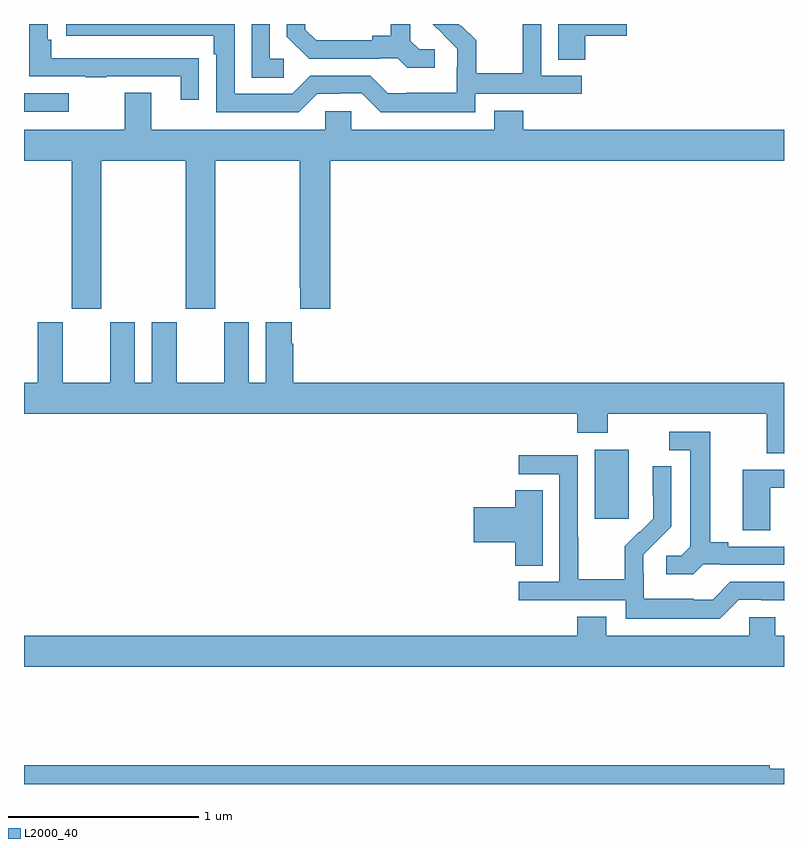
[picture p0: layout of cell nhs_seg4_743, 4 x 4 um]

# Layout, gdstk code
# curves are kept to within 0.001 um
import gdstk
lib = gdstk.Library(unit=1e-6, precision=1e-09)
def R(c, l, rs):  # rectangles x0, y0, x1, y1
    for r in rs: c.add(gdstk.rectangle(r[:2], r[2:], *l))
def P(c, l, *ps):  # polygons
    for p in ps: c.add(gdstk.Polygon(p, *l))
L2000_40 = (2000, 40)

nhs_seg4_743 = lib.new_cell('nhs_seg4_743')
R(nhs_seg4_743, L2000_40, [(152.003,768.297,152.182,768.658), (149,770.439,149.236,770.535), (150.612,770.899,150.757,770.9)])
P(nhs_seg4_743, L2000_40, [(150.367,770.718),(150.294,770.718),(150.294,770.9),(150.198,770.9),(150.198,770.617),(150.367,770.617)],
  [(151.162,770.766),(151.08,770.766),(151.033,770.813),(151.033,770.9),(150.929,770.9),(150.929,770.837),(150.833,770.837),(150.833,770.814),(150.538,770.814),(150.481,770.871),(150.481,770.9),(150.384,770.9),(150.384,770.834),(150.5,770.718),(150.872,770.718),(150.872,770.721),(150.966,770.721),(151.018,770.669),(151.162,770.669)],
  [(149.921,770.72),(149.819,770.72),(149.819,770.721),(149.144,770.721),(149.144,770.818),(149.124,770.818),(149.124,770.9),(149.028,770.9),(149.028,770.625),(149.323,770.625),(149.323,770.62),(149.435,770.62),(149.435,770.625),(149.825,770.625),(149.825,770.502),(149.921,770.502)],
  [(151.955,770.837),(152.173,770.837),(152.173,770.9),(151.811,770.9),(151.811,770.713),(151.955,770.713)],
  [(151.374,770.532),(151.936,770.532),(151.936,770.628),(151.722,770.628),(151.722,770.9),(151.626,770.9),(151.626,770.864),(151.624,770.864),(151.624,770.641),(151.379,770.641),(151.379,770.815),(151.302,770.892),(151.299,770.889),(151.288,770.9),(151.152,770.9),(151.28,770.77),(151.28,770.673),(151.278,770.673),(151.278,770.539),(151.015,770.539),(151.015,770.535),(150.915,770.535),(150.822,770.628),(150.507,770.628),(150.411,770.532),(150.108,770.532),(150.108,770.9),(149.223,770.9),(149.223,770.838),(149.999,770.838),(149.999,770.741),(150.012,770.741),(150.012,770.436),(150.447,770.436),(150.543,770.532),(150.662,770.532),(150.662,770.535),(150.777,770.535),(150.877,770.435),(151.374,770.435)],
  [(153,770.344),(151.628,770.344),(151.628,770.443),(151.475,770.443),(151.475,770.344),(150.723,770.344),(150.723,770.442),(150.585,770.442),(150.585,770.344),(149.671,770.344),(149.671,770.539),(149.531,770.539),(149.531,770.344),(149,770.344),(149,770.18),(149.251,770.18),(149.251,769.401),(149.406,769.401),(149.406,770.18),(149.851,770.18),(149.851,769.401),(150.006,769.401),(150.006,770.18),(150.451,770.18),(150.451,769.513),(150.455,769.513),(150.455,769.401),(150.611,769.401),(150.611,770.18),(153,770.18)],
  [(153,769.012),(150.416,769.012),(150.416,769.217),(150.409,769.217),(150.409,769.33),(150.272,769.33),(150.272,769.012),(150.184,769.012),(150.184,769.33),(150.053,769.33),(150.053,769.012),(149.803,769.012),(149.803,769.33),(149.672,769.33),(149.672,769.012),(149.584,769.012),(149.584,769.33),(149.453,769.33),(149.453,769.012),(149.203,769.012),(149.203,769.33),(149.072,769.33),(149.072,769.012),(149,769.012),(149,768.848),(151.913,768.848),(151.913,768.749),(152.073,768.749),(152.073,768.848),(152.909,768.848),(152.909,768.64),(153,768.64)],
  [(152.574,768.057),(152.668,768.057),(152.668,768.054),(153,768.054),(153,768.15),(152.707,768.15),(152.707,768.173),(152.611,768.173),(152.611,768.753),(152.397,768.753),(152.397,768.657),(152.507,768.657),(152.507,768.149),(152.46,768.102),(152.379,768.102),(152.379,768.005),(152.522,768.005)],
  [(152.763,767.871),(152.879,767.871),(152.879,767.868),(152.997,767.868),(153,767.865),(153,767.964),(152.718,767.964),(152.625,767.871),(152.525,767.871),(152.525,767.875),(152.262,767.875),(152.262,768.009),(152.26,768.009),(152.26,768.106),(152.406,768.254),(152.406,768.572),(152.31,768.572),(152.31,768.418),(152.312,768.418),(152.312,768.296),(152.241,768.225),(152.238,768.228),(152.161,768.151),(152.161,767.977),(151.917,767.977),(151.917,768.2),(151.914,768.2),(151.914,768.63),(151.605,768.63),(151.605,768.531),(151.818,768.531),(151.818,767.964),(151.605,767.964),(151.605,767.868),(152.166,767.868),(152.166,767.771),(152.663,767.771)],
  [(152.928,768.459),(153,768.459),(153,768.555),(152.783,768.555),(152.783,768.235),(152.928,768.235)],
  [(151.729,768.446),(151.586,768.446),(151.586,768.356),(151.368,768.356),(151.368,768.173),(151.586,768.173),(151.586,768.049),(151.729,768.049)],
  [(153,767.68),(152.955,767.68),(152.955,767.778),(152.817,767.778),(152.817,767.68),(152.065,767.68),(152.065,767.779),(151.913,767.779),(151.913,767.68),(149,767.68),(149,767.516),(153,767.516)],
  [(153,766.981),(152.924,766.981),(152.924,767),(149,767),(149,766.9),(153,766.9)])

lib.write_gds('nhs_seg4_743.gds')
